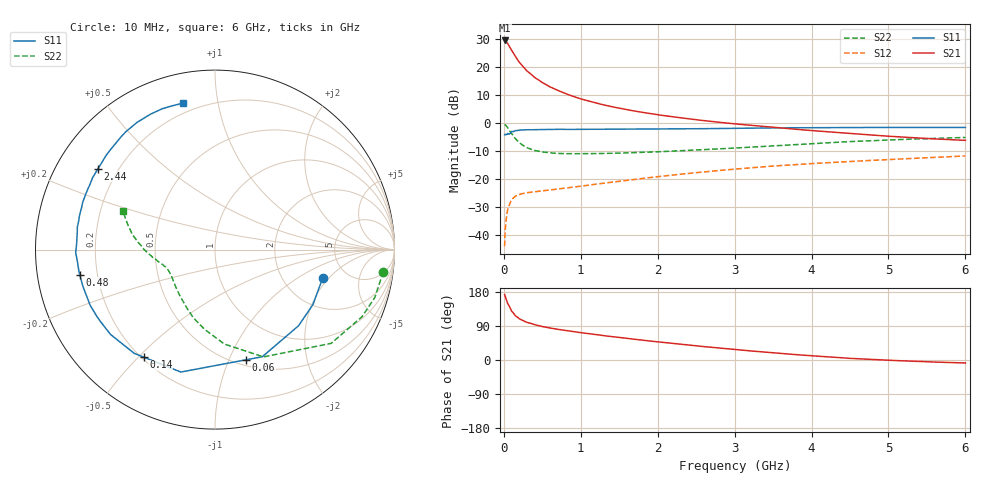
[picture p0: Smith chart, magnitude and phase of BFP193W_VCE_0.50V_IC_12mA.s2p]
! Infineon Technologies  Discrete & RF Semiconductors
! BFP193W
! VCE = 0.50V,  IC =  12 mA
! Common Emitter S-Parameters:  Jan 2016
# GHz  S  MA  R  50
!  f  S11  S21  S12  S22
! GHz  MAG  ANG  MAG  ANG  MAG  ANG  MAG  ANG
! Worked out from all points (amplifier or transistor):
!   210 points, 10 MHz to 6 GHz, reference 50 ohm
!   highest |S21| = 29.6 dB at 10 MHz (marker M1)
!   |S21| within 3 dB of that: start of sweep to 89.6 MHz
!   unconditionally stable (mu >= 1): 987.6 MHz to end of sweep
!   at 185 MHz: K = 0.26, MSG = 24.1 dB, |S12| = -25.7 dB
!   at 1.52 GHz: K = 1.18, MAG = 10.4 dB, |S12| = -20.7 dB
!   at 6 GHz: K = 1.10, MAG = 0.9 dB, |S12| = -11.8 dB
!   S11 on the Smith chart (normalised r, x): 10 MHz: 3.33, -1.71; 60 MHz: 0.56, -1.16; 140 MHz: 0.21, -0.52; 480 MHz: 0.13, -0.09; 2.44 GHz: 0.13, +0.31; 6 GHz: 0.15, +0.79
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0.01  0.6205 -14.7  30.07 172.6  0.0063 83.9  0.9457 -7.5
0.02  0.6258 -29.2  29.67 166.8  0.0133 77.7  0.9294 -16.7
0.03  0.6299 -42.4  28.88 160.6  0.0186 72.0  0.9007 -24.5
0.05  0.6525 -66.2  26.51 149.1  0.0285 61.4  0.8318 -38.9
0.06  0.6378 -74.3  25.05 145.9  0.0311 57.0  0.7848 -43.2
0.1  0.7083 -105.6  20.23 129.1  0.0429 45.2  0.6559 -65.7
0.14  0.7191 -123.6  16.36 119.7  0.0481 37.7  0.549 -79.9
0.15  0.7325 -127.9  15.49 116.6  0.0495 36.1  0.5289 -84.3
0.2  0.7498 -140.9  12.3 108.9  0.053 31.5  0.4485 -97.4
0.26  0.7562 -150.7  9.845 102.7  0.0555 28.7  0.3915 -108.9
0.3  0.7615 -155.9  8.579 99.3  0.0569 27.8  0.3629 -115.3
0.4  0.764 -164.4  6.563 93.0  0.0591 26.9  0.3248 -126.7
0.48  0.7663 -169.4  5.558 89.3  0.0611 27.8  0.3091 -133.0
0.7  0.7764 -178.7  3.852 81.0  0.0662 30.9  0.2872 -145.0
1.02  0.7739 172.5  2.664 71.7  0.075 35.1  0.2837 -153.7
1.4  0.7789 164.3  1.97 61.8  0.0876 39.2  0.29 -159.2
2.02  0.7855 152.5  1.399 47.5  0.1109 42.4  0.3084 -164.9
2.44  0.7921 145.3  1.176 38.7  0.1276 42.4  0.3273 -168.9
3.1  0.8077 134.7  0.943 26.1  0.1544 40.6  0.3643 -175.5
4.1  0.8315 120.3  0.719 9.8  0.1922 35.5  0.4357 173.8
5.1  0.8373 109.7  0.572 -1.5  0.2265 29.9  0.506 163.9
6  0.8355 102.5  0.491 -7.9  0.2585 25.1  0.5539 157.4
